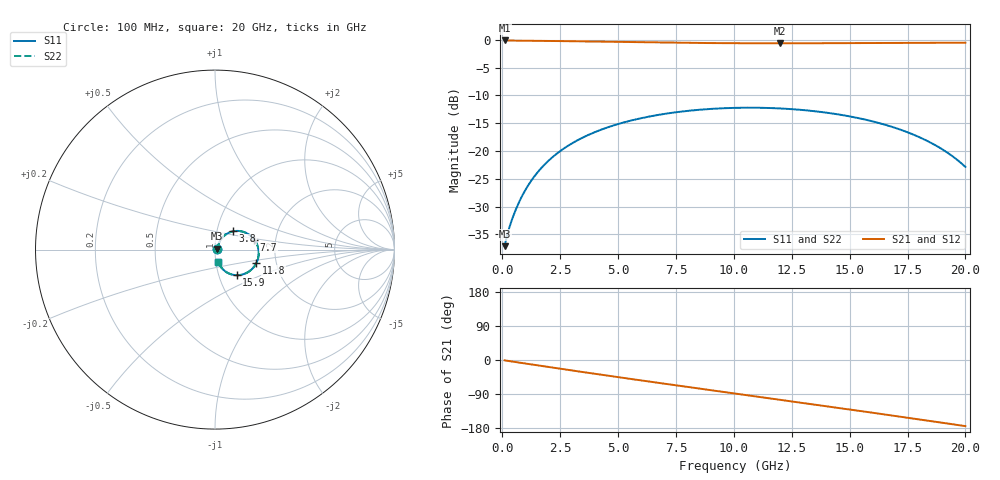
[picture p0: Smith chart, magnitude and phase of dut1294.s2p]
! Touchstone file exported from HFSS 2026.1.0
!  File:  C:/ffzhzh/LocalFiles/Ansys_Project_Files/temp_train_TSV_RDL_1294_1783332475_39728.aedt
!  Generated:  06:17:41 PM Jul  6, 2026
!  Design:  TSV_RDL
!  Project:  temp_train_TSV_RDL_1294_1783332475_39728
! Variables:
!  h_bsmrdl = 4.51um
!  h_ox = 20um
!  h_rdl = 5um
!  h_sub = 70.65um
!  h_tmrdl = 4.76um
!  h_tsv = 70.65um
!  h_via = 3um
!  l_bsmrdl = 453.89um
!  l_sub = 2902.43um
!  l_tmrdl = 245.5um
!  m_sub = 200um
!  pitch = 35.03um
!  r_tsv = 3.48um
!  s_tmrdl = 10um
!  w_bsmrdl = 24.02um
!  w_sub = 500um
!  w_tmrdl = 28.9um
!  x_tsv_center1 = 259.95um
!  x_tsv_center2 = 737.86um
!  x_tsv_center3 = 1012.26um
!  x_tsv_center4 = 1490.17um
!  x_tsv_center5 = 1764.57um
!  x_tsv_center6 = 2242.48um
# GHz S MA R 50.000000
! Terminal data exported
! Port[1] = TM_RDL1_1_T1
! Port[2] = TM_RDL5_1_T1
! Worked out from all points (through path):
!   200 points, 100 MHz to 20 GHz, reference 50 ohm
!   highest |S21| = -0.11 dB at 100 MHz (marker M1); lowest = -0.6 dB at 12 GHz (marker M2)
!   group delay of S21, straight-line fit = 24 ps
!   lowest |S11| = -37.1 dB at 100 MHz (marker M3), VSWR 1.03, Z = 51.3 + j0.541 ohm
!   |S11| at or under -10 dB: start of sweep to end of sweep
!   |S22| runs from -37.1 to -12.2 dB; largest |S21 - S12| = 4.4e-14
!   S11 on the Smith chart (normalised r, x): 100 MHz: 1.03, +0.01; 3.8 GHz: 1.19, +0.25; 7.7 GHz: 1.55, +0.18; 11.8 GHz: 1.58, -0.25; 15.9 GHz: 1.22, -0.36; 20 GHz: 1.03, -0.14
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0.1  0.01392 22.2  0.9872 -1.0  0.9872 -1.0  0.01392 22.2
! Gamma 0 0 0 0
! Port Impedance 50 0 50 0
0.3  0.02035 41.2  0.9852 -2.9  0.9852 -2.9  0.02035 41.2
0.6  0.03026 52.9  0.9836 -5.7  0.9836 -5.7  0.03026 52.9
0.9  0.04101 58.0  0.9826 -8.4  0.9826 -8.4  0.04101 58.0
1.3  0.05592 60.0  0.981 -12.1  0.981 -12.1  0.05592 60.0
2.2  0.08917 57.1  0.9764 -20.3  0.9764 -20.3  0.08917 57.1
3.5  0.1328 48.0  0.9675 -32.0  0.9675 -32.0  0.1328 48.0
3.8  0.142 45.6  0.9653 -34.7  0.9653 -34.7  0.142 45.6
5.3  0.182 33.7  0.9545 -47.9  0.9545 -47.9  0.182 33.7
6.8  0.2123 21.6  0.945 -60.8  0.945 -60.8  0.2123 21.6
7.7  0.2258 14.4  0.9404 -68.5  0.9404 -68.5  0.2258 14.4
8.9  0.2383 4.9  0.9355 -78.7  0.9355 -78.7  0.2383 4.9
10.1  0.2445 -4.6  0.9324 -88.9  0.9324 -88.9  0.2445 -4.6
11.8  0.2425 -17.9  0.9306 -103.3  0.9306 -103.3  0.2425 -18.0
12  0.2414 -19.5  0.9306 -105.0  0.9306 -105.0  0.2414 -19.5
13.4  0.2291 -30.5  0.9315 -116.9  0.9315 -116.9  0.2291 -30.5
14.6  0.2119 -39.8  0.9334 -127.2  0.9334 -127.2  0.2119 -39.8
15.9  0.1868 -49.7  0.936 -138.4  0.936 -138.4  0.1868 -49.8
16.7  0.1682 -55.7  0.9378 -145.4  0.9378 -145.4  0.1682 -55.7
18.6  0.1158 -68.6  0.9411 -162.0  0.9411 -162.0  0.1158 -68.7
19.4  0.09108 -72.8  0.9419 -169.1  0.9419 -169.1  0.09105 -72.9
20  0.07188 -74.6  0.9422 -174.5  0.9422 -174.5  0.07182 -74.8
